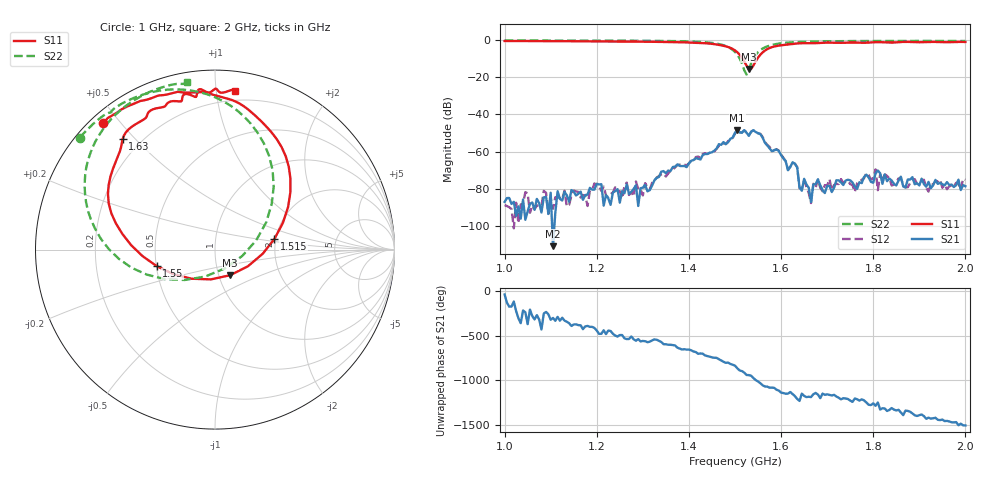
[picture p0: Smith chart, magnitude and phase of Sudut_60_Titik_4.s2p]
# Hz S RI R 50
! CMT, C1220, 16058040, 17.2.0/1
! Date: 14/08/2018 12:29:21
! Data: Format (Calibration Info)
! Freq  S11: Re/Im (F2)  S21: Re/Im (F2)  S12: Re/Im (F2)  S22: Re/Im (F2)
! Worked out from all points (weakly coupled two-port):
!   201 points, 1 GHz to 2 GHz, reference 50 ohm
!   highest |S21| = -48.31 dB at 1.505 GHz (marker M1); lowest = -110.8 dB at 1.105 GHz (marker M2)
!   lowest |S11| = -15.6 dB at 1.53 GHz (marker M3), VSWR 1.40, Z = 56.7 - j16.6 ohm
!   |S11| at or under -10 dB: 1.516 GHz to 1.549 GHz (32.15 MHz wide, 2.1 % of centre)
!   |S22| runs from -18.5 to -0.2 dB; largest |S21 - S12| = 0.00039
!   S11 on the Smith chart (normalised r, x): 1 GHz: 0.03, +0.45; 1.515 GHz: 1.97, +0.27; 1.55 GHz: 0.50, -0.10; 1.63 GHz: 0.13, +0.46; 2 GHz: 0.13, +1.13
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1e9  -0.6251 0.7078  3.29e-05 -3.03e-05  -3.64e-05 -4.22e-06  -0.7527 0.6245
1.105e9  -0.5253 0.7787  1.57e-06 2.41e-06  -1.09e-05 2.72e-05  -0.6761 0.7023
1.17e9  -0.4491 0.8139  1.87e-05 -4.71e-05  5.76e-05 -3.62e-05  -0.6166 0.7496
1.315e9  -0.2098 0.8786  -8.13e-05 4.31e-05  -8.24e-05 -4.96e-05  -0.4388 0.8507
1.335e9  -0.1832 0.8759  -0.000199 6.54e-05  -0.000208 7.12e-05  -0.401 0.8637
1.45e9  0.2009 0.7669  0.000886 -0.000372  0.000858 -0.000408  0.0208 0.8391
1.5e9  0.42 0.3205  -0.00137 -0.00292  -0.00132 -0.00275  0.3271 0.3518
1.505e9  0.4072 0.237  -0.0031 -0.00226  -0.00293 -0.00227  0.316 0.2547
1.515e9  0.3312 0.0598  -0.00321 -0.000241  -0.00326 -0.000323  0.2301 0.0523
1.53e9  0.0851 -0.1426  -0.00206 0.00174  -0.00203 0.00175  -0.0545 -0.1502
1.55e9  -0.3254 -0.0917  0.00112 0.00293  0.00101 0.00297  -0.4651 -0.101
1.615e9  -0.5299 0.5478  0.000125 -0.00029  7.34e-05 -0.000318  -0.7132 0.475
1.63e9  -0.5151 0.6141  -3.25e-05 -0.000472  -3.22e-05 -0.000475  -0.6916 0.5448
1.64e9  -0.4973 0.6523  -9.28e-05 -5.76e-05  -9.46e-05 -4.29e-05  -0.6753 0.5839
1.67e9  -0.3949 0.7263  3.59e-05 -0.000125  7.96e-05 -0.000111  -0.6235 0.6717
1.76e9  -0.2321 0.8273  -5.89e-05 -9.86e-05  -3.91e-05 -7.34e-05  -0.4827 0.8103
1.805e9  -0.1744 0.8629  -0.000241 9.91e-05  -0.000307 -0.00013  -0.4182 0.8514
1.81e9  -0.1666 0.8667  -0.000301 -7.69e-05  8.93e-05 -2.3e-05  -0.4117 0.8555
1.815e9  -0.1563 0.8671  -0.000115 0.000237  -0.000239 5.07e-05  -0.4048 0.8589
1.835e9  -0.111 0.8508  -6.92e-05 0.000176  -0.000133 0.000139  -0.3778 0.872
1.92e9  -0.00158 0.8947  0.000139 6.65e-05  5.81e-05 6.13e-05  -0.2596 0.9145
2e9  0.1133 0.8823  5.64e-05 -0.000103  8.07e-05 -0.000155  -0.1538 0.9316
